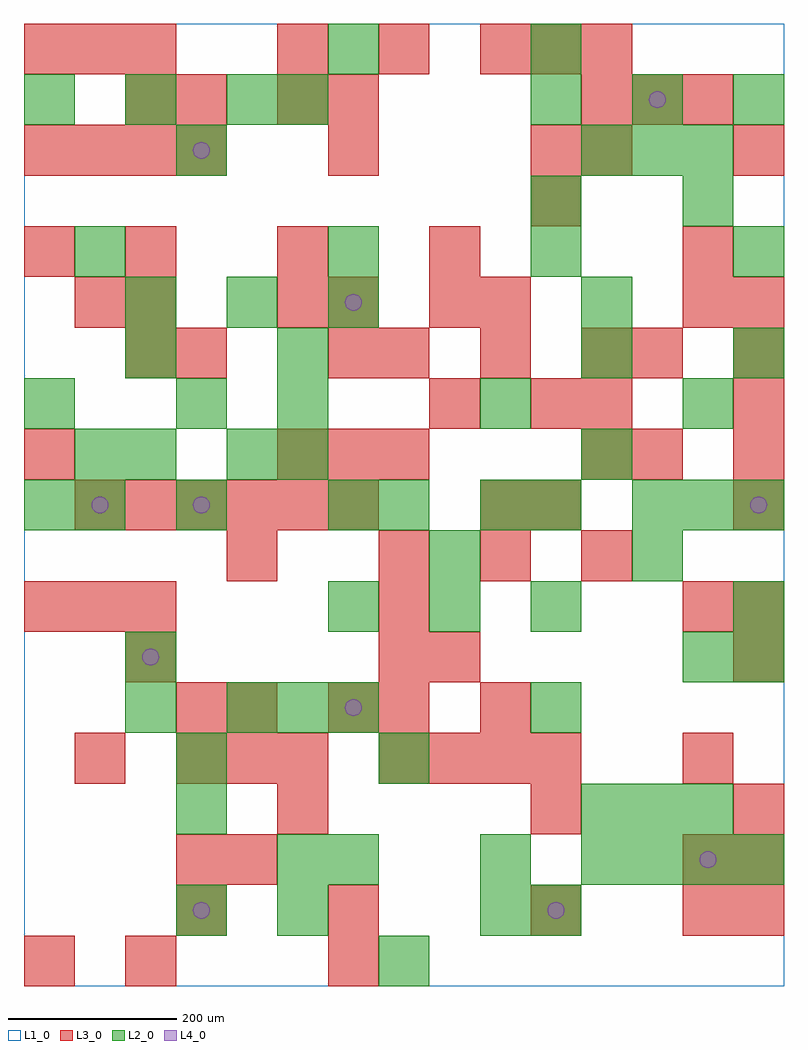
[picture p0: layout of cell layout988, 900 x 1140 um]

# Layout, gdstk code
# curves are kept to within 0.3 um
import gdstk
lib = gdstk.Library(unit=1e-6, precision=1e-09)
def R(c, l, rs):  # rectangles x0, y0, x1, y1
    for r in rs: c.add(gdstk.rectangle(r[:2], r[2:], *l))
def A(c, l, x, y, w, h, nx, ny, dx, dy):  # array of equal rectangles
    R(c, l, [(x+i*dx, y+j*dy, x+i*dx+w, y+j*dy+h) for i in range(nx) for j in range(ny)])
def P(c, l, *ps):  # polygons
    for p in ps: c.add(gdstk.Polygon(p, *l))
L1_0 = (1, 0)
L2_0 = (2, 0)
L3_0 = (3, 0)
L4_0 = (4, 0)

layout988 = lib.new_cell('layout988')
R(layout988, L1_0, [(0,0,900,1140)])
A(layout988, L2_0, 600, 60, 60, 60, 1, 3, 0, 240)
A(layout988, L2_0, 660, 120, 60, 60, 4, 1, 60, 0)
A(layout988, L2_0, 660, 180, 60, 60, 3, 2, 60, 780)
A(layout988, L2_0, 240, 300, 60, 60, 3, 1, 60, 0)
A(layout988, L2_0, 360, 420, 60, 60, 3, 1, 120, 0)
A(layout988, L2_0, 720, 540, 60, 60, 3, 1, 60, 0)
A(layout988, L2_0, 300, 660, 60, 60, 3, 1, 240, 0)
A(layout988, L2_0, 120, 780, 60, 60, 3, 1, 120, 0)
A(layout988, L2_0, 360, 840, 60, 60, 3, 1, 240, 0)
A(layout988, L2_0, 0, 1020, 60, 60, 3, 1, 120, 0)
A(layout988, L2_0, 600, 1020, 60, 60, 3, 1, 120, 0)
R(layout988, L2_0, [(420,0,480,60), (180,60,240,120), (300,60,360,120), (540,60,600,120), (300,120,360,180), (360,120,420,180), (540,120,600,180), (180,180,240,240), (180,240,240,300), (420,240,480,300), (120,300,180,360), (120,360,180,420), (780,360,840,420), (840,360,900,420), (840,420,900,480), (480,480,540,540), (720,480,780,540), (0,540,60,600), (60,540,120,600), (180,540,240,600), (360,540,420,600), (420,540,480,600), (540,540,600,600), (60,600,120,660), (120,600,180,660), (240,600,300,660), (300,600,360,660), (660,600,720,660), (0,660,60,720), (180,660,240,720), (120,720,180,780), (300,720,360,780), (660,720,720,780), (840,720,900,780), (660,780,720,840), (60,840,120,900), (600,900,660,960), (780,900,840,960), (180,960,240,1020), (300,1020,360,1080), (360,1080,420,1140), (600,1080,660,1140)])
A(layout988, L3_0, 120, 0, 60, 60, 1, 3, 0, 360)
A(layout988, L3_0, 840, 60, 60, 60, 1, 3, 0, 60)
A(layout988, L3_0, 240, 120, 60, 60, 1, 3, 0, 180)
A(layout988, L3_0, 180, 240, 60, 60, 3, 1, 60, 0)
A(layout988, L3_0, 420, 240, 60, 60, 4, 1, 60, 0)
A(layout988, L3_0, 420, 300, 60, 60, 1, 3, 0, 60)
A(layout988, L3_0, 540, 300, 60, 60, 1, 3, 0, 240)
A(layout988, L3_0, 0, 420, 60, 60, 3, 2, 60, 660)
A(layout988, L3_0, 420, 480, 60, 60, 3, 2, 120, 240)
A(layout988, L3_0, 60, 540, 60, 60, 6, 1, 60, 0)
A(layout988, L3_0, 840, 540, 60, 60, 1, 5, 0, 60)
A(layout988, L3_0, 300, 600, 60, 60, 3, 1, 60, 0)
A(layout988, L3_0, 120, 840, 60, 60, 3, 1, 180, 0)
A(layout988, L3_0, 0, 960, 60, 60, 4, 1, 60, 0)
A(layout988, L3_0, 660, 1020, 60, 60, 3, 1, 60, 0)
A(layout988, L3_0, 300, 1080, 60, 60, 3, 1, 120, 0)
R(layout988, L3_0, [(0,0,60,60), (360,0,420,60), (180,60,240,120), (360,60,420,120), (600,60,660,120), (780,60,840,120), (180,120,240,180), (780,120,840,180), (300,180,360,240), (600,180,660,240), (60,240,120,300), (780,240,840,300), (180,300,240,360), (360,300,420,360), (480,360,540,420), (840,360,900,420), (780,420,840,480), (840,420,900,480), (600,540,660,600), (0,600,60,660), (660,600,720,660), (720,600,780,660), (480,660,540,720), (600,660,660,720), (660,660,720,720), (180,720,240,780), (360,720,420,780), (720,720,780,780), (60,780,120,840), (120,780,180,840), (300,780,360,840), (360,780,420,840), (480,780,540,840), (780,780,840,840), (0,840,60,900), (780,840,840,900), (600,900,660,960), (360,960,420,1020), (600,960,660,1020), (660,960,720,1020), (840,960,900,1020), (120,1020,180,1080), (180,1020,240,1080), (300,1020,360,1080), (360,1020,420,1080), (600,1080,660,1140), (660,1080,720,1140)])
P(layout988, L4_0, [(100,570),(99.239,573.827),(97.071,577.071),(93.827,579.239),(90,580),(86.173,579.239),(82.929,577.071),(80.761,573.827),(80,570),(80.761,566.173),(82.929,562.929),(86.173,560.761),(90,560),(93.827,560.761),(97.071,562.929),(99.239,566.173)],
  [(160,390),(159.239,393.827),(157.071,397.071),(153.827,399.239),(150,400),(146.173,399.239),(142.929,397.071),(140.761,393.827),(140,390),(140.761,386.173),(142.929,382.929),(146.173,380.761),(150,380),(153.827,380.761),(157.071,382.929),(159.239,386.173)],
  [(220,90),(219.239,93.827),(217.071,97.071),(213.827,99.239),(210,100),(206.173,99.239),(202.929,97.071),(200.761,93.827),(200,90),(200.761,86.173),(202.929,82.929),(206.173,80.761),(210,80),(213.827,80.761),(217.071,82.929),(219.239,86.173)],
  [(220,570),(219.239,573.827),(217.071,577.071),(213.827,579.239),(210,580),(206.173,579.239),(202.929,577.071),(200.761,573.827),(200,570),(200.761,566.173),(202.929,562.929),(206.173,560.761),(210,560),(213.827,560.761),(217.071,562.929),(219.239,566.173)],
  [(220,990),(219.239,993.827),(217.071,997.071),(213.827,999.239),(210,1000),(206.173,999.239),(202.929,997.071),(200.761,993.827),(200,990),(200.761,986.173),(202.929,982.929),(206.173,980.761),(210,980),(213.827,980.761),(217.071,982.929),(219.239,986.173)],
  [(400,330),(399.239,333.827),(397.071,337.071),(393.827,339.239),(390,340),(386.173,339.239),(382.929,337.071),(380.761,333.827),(380,330),(380.761,326.173),(382.929,322.929),(386.173,320.761),(390,320),(393.827,320.761),(397.071,322.929),(399.239,326.173)],
  [(400,810),(399.239,813.827),(397.071,817.071),(393.827,819.239),(390,820),(386.173,819.239),(382.929,817.071),(380.761,813.827),(380,810),(380.761,806.173),(382.929,802.929),(386.173,800.761),(390,800),(393.827,800.761),(397.071,802.929),(399.239,806.173)],
  [(640,90),(639.239,93.827),(637.071,97.071),(633.827,99.239),(630,100),(626.173,99.239),(622.929,97.071),(620.761,93.827),(620,90),(620.761,86.173),(622.929,82.929),(626.173,80.761),(630,80),(633.827,80.761),(637.071,82.929),(639.239,86.173)],
  [(760,1050),(759.239,1053.827),(757.071,1057.071),(753.827,1059.239),(750,1060),(746.173,1059.239),(742.929,1057.071),(740.761,1053.827),(740,1050),(740.761,1046.173),(742.929,1042.929),(746.173,1040.761),(750,1040),(753.827,1040.761),(757.071,1042.929),(759.239,1046.173)],
  [(820,150),(819.239,153.827),(817.071,157.071),(813.827,159.239),(810,160),(806.173,159.239),(802.929,157.071),(800.761,153.827),(800,150),(800.761,146.173),(802.929,142.929),(806.173,140.761),(810,140),(813.827,140.761),(817.071,142.929),(819.239,146.173)],
  [(880,570),(879.239,573.827),(877.071,577.071),(873.827,579.239),(870,580),(866.173,579.239),(862.929,577.071),(860.761,573.827),(860,570),(860.761,566.173),(862.929,562.929),(866.173,560.761),(870,560),(873.827,560.761),(877.071,562.929),(879.239,566.173)])

lib.write_gds('layout988.gds')
